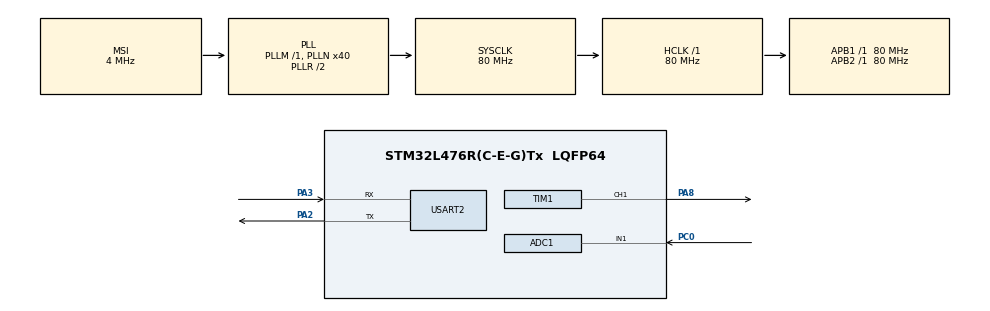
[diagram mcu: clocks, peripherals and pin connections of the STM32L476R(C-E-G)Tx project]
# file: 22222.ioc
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ADC1.Channel-1\#ChannelRegularConversion=ADC_CHANNEL_1
ADC1.NbrOfConversionFlag=1
ADC1.OffsetNumber-1\#ChannelRegularConversion=ADC_OFFSET_NONE
ADC1.Rank-1\#ChannelRegularConversion=1
ADC1.SamplingTime-1\#ChannelRegularConversion=ADC_SAMPLETIME_2CYCLES_5
ADC1.master=1
Dma.Request0=TIM1_CH1
Dma.TIM1_CH1.0.Direction=DMA_MEMORY_TO_PERIPH
Dma.TIM1_CH1.0.Instance=DMA1_Channel2
Dma.TIM1_CH1.0.MemDataAlignment=DMA_MDATAALIGN_HALFWORD
Dma.TIM1_CH1.0.MemInc=DMA_MINC_ENABLE
Dma.TIM1_CH1.0.Mode=DMA_NORMAL
Dma.TIM1_CH1.0.PeriphDataAlignment=DMA_PDATAALIGN_HALFWORD
Dma.TIM1_CH1.0.PeriphInc=DMA_PINC_DISABLE
Dma.TIM1_CH1.0.Priority=DMA_PRIORITY_LOW
FREERTOS.Tasks01=defaultTask,0,128,StartDefaultTask,Default,NULL,Dynamic,NULL,NULL
Mcu.Family=STM32L4
Mcu.Name=STM32L476R(C-E-G)Tx
Mcu.Package=LQFP64
NVIC.DMA1_Channel2_IRQn=true\:5\:0\:false\:false\:true\:true\:false\:true
NVIC.PriorityGroup=NVIC_PRIORITYGROUP_4
NVIC.TIM6_DAC_IRQn=true\:0\:0\:false\:false\:true\:false\:false\:true
NVIC.TimeBase=TIM6_DAC_IRQn
NVIC.TimeBaseIP=TIM6
PA13\ (JTMS-SWDIO).Mode=Serial_Wire
PA13\ (JTMS-SWDIO).Signal=SYS_JTMS-SWDIO
PA14\ (JTCK-SWCLK).Mode=Serial_Wire
PA14\ (JTCK-SWCLK).Signal=SYS_JTCK-SWCLK
PA2.Mode=Asynchronous
PA2.Signal=USART2_TX
PA3.Mode=Asynchronous
PA3.Signal=USART2_RX
PA8.Signal=S_TIM1_CH1
PC0.Signal=ADCx_IN1
ProjectManager.HeapSize=0x200
ProjectManager.StackSize=0x400
ProjectManager.TargetToolchain=TrueSTUDIO
RCC.ADCFreq_Value=32000000
RCC.AHBFreq_Value=80000000
RCC.APB1Freq_Value=80000000
RCC.APB1TimFreq_Value=80000000
RCC.APB2Freq_Value=80000000
RCC.APB2TimFreq_Value=80000000
RCC.CortexFreq_Value=80000000
RCC.HCLKFreq_Value=80000000
RCC.HSE_VALUE=8000000
RCC.HSI_VALUE=16000000
RCC.LSE_VALUE=32768
RCC.MSI_VALUE=4000000
RCC.PLLN=40
RCC.PLLSAI1N=16
RCC.SYSCLKFreq_VALUE=80000000
RCC.SYSCLKSource=RCC_SYSCLKSOURCE_PLLCLK
RCC.USBFreq_Value=32000000
RCC.VCOOutputFreq_Value=160000000
SH.ADCx_IN1.0=ADC1_IN1,IN1-Single-Ended
SH.S_TIM1_CH1.0=TIM1_CH1,PWM Generation1 CH1
TIM1.Channel-PWM\ Generation1\ CH1=TIM_CHANNEL_1
TIM1.Period=100-1
USART2.VirtualMode-Asynchronous=VM_ASYNC
VP_FREERTOS_VS_CMSIS_V1.Mode=CMSIS_V1
VP_SYS_VS_tim6.Mode=TIM6
VP_TIM1_VS_ClockSourceINT.Mode=Internal
board=custom

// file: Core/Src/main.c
/* USER CODE BEGIN Header */
/**
  ******************************************************************************
  * @file           : main.c
  * @brief          : Main program body
  ******************************************************************************
  * @attention
  *
  * <h2><center>&copy; Copyright (c) 2021 STMicroelectronics.
  * All rights reserved.</center></h2>
  *
  * This software component is licensed by ST under BSD 3-Clause license,
  * the "License"; You may not use this file except in compliance with the
  * License. You may obtain a copy of the License at:
  *                        opensource.org/licenses/BSD-3-Clause
  *
  ******************************************************************************
  */
/* USER CODE END Header */
#include "main.h"
#include "cmsis_os.h"

ADC_HandleTypeDef hadc1;

TIM_HandleTypeDef htim1;
DMA_HandleTypeDef hdma_tim1_ch1;

UART_HandleTypeDef huart2;

osThreadId defaultTaskHandle;

void SystemClock_Config(void);
static void MX_GPIO_Init(void);
static void MX_DMA_Init(void);
static void MX_ADC1_Init(void);
static void MX_USART2_UART_Init(void);
static void MX_TIM1_Init(void);
void StartDefaultTask(void const * argument);

/* USER CODE BEGIN 0 */
//输入值分别是：输入值，输入最小值，输入最大值，输出最小值，输出最大值
#define MAX_LED 39
#define USE_BRIGHTNESS 1
#define breathe 1
int datasentflag=0;
uint8_t LED_Data[MAX_LED][5];
uint8_t LED_Mod[MAX_LED][5];  // for brightness
int ledmode=0;
int ledmode_buffer=0;
int ledmode_color[8][3]={{0,0,0},{255,0,0},{0,255,0},{0,0,255},{255,255,0},{255,0,255},{0,255,255},{255,255,255}};

void Set_LED (int LEDnum, int Red, int Green, int Blue)
{
	LED_Data[LEDnum][0] = LEDnum;
	LED_Data[LEDnum][1] = Green;
	LED_Data[LEDnum][2] = Red;
	LED_Data[LEDnum][3] = Blue;
	LED_Data[LEDnum][4] = 0;
}

#define PI 3.14159265

void Set_Brightness (int brightness)  // 0-45
{
#if USE_BRIGHTNESS

	if (brightness > 45) brightness = 45;
	for (int i=0; i<MAX_LED; i++)
	{
		LED_Mod[i][0] = LED_Data[i][0];
		for (int j=1; j<5; j++)
		{
			float angle = 90-brightness;  // in degrees
			angle = angle*PI / 180;  // in rad
			LED_Mod[i][j] = brightness!=45?LED_Data[i][j]/(tan(angle)):LED_Data[i][j];
		}
	}

#endif
}
uint16_t pwmData[(32*MAX_LED)+50];

void WS2812_Send (void)
{
	uint32_t indx=0;
	uint32_t color;

	for (int i= 0; i<MAX_LED; i++)
	{
		#if USE_BRIGHTNESS
				color = ((LED_Mod[i][1]<<24) | (LED_Mod[i][2]<<16) | (LED_Mod[i][3]<<8));
		#else
				color = ((LED_Data[i][1]<<24) | (LED_Data[i][2]<<16) | (LED_Data[i][3]<<8));
		#endif

		for (int j=31; j>=0; j--)
		{
			if (color&(1<<j))pwmData[indx] = 64;
			else pwmData[indx] = 32;

			indx++;
		}

	}

	for (int i=0; i<50; i++)
	{
		pwmData[indx] = 0;
		indx++;
	}

	HAL_TIM_PWM_Start_DMA(&htim1, TIM_CHANNEL_1, (uint32_t *)pwmData, indx);
	while (!datasentflag){};
	datasentflag = 0;
}
void HAL_TIM_PWM_PulseFinishedCallback(TIM_HandleTypeDef *htim)
{
	HAL_TIM_PWM_Stop_DMA(&htim1, TIM_CHANNEL_1);
	datasentflag=1;
}

//uint16_t ADC_Value=0;
//uint16_t dong_get_adc(){
//    //開啟ADC1
//  HAL_ADC_Start(&hadc1);
//    //等待ADC轉換完成，超時為100ms
//    HAL_ADC_PollForConversion(&hadc1,100);
//    //判斷ADC是否轉換成功
//    if(HAL_IS_BIT_SET(HAL_ADC_GetState(&hadc1),HAL_ADC_STATE_REG_EOC)){
//         //讀取值
//       return HAL_ADC_GetValue(&hadc1);
//    }
//    return 0;
//}
/*map fun*/

float map(float val, float I_Min, float I_Max, float O_Min, float O_Max)
	{
		return(((val-I_Min)*((O_Max-O_Min)/(I_Max-I_Min)))+O_Min);
    }

/* USER CODE END 0 */

int main(void)
{
  /* USER CODE BEGIN 1 */
uint16_t raw;
uint16_t val;
char msg[10];
  /* USER CODE END 1 */

  /* MCU Configuration--------------------------------------------------------*/

  /* Reset of all peripherals, Initializes the Flash interface and the Systick. */
  HAL_Init();

  /* Configure the system clock */
  SystemClock_Config();

  /* Initialize all configured peripherals */
  MX_GPIO_Init();
  MX_DMA_Init();
  MX_ADC1_Init();
  MX_USART2_UART_Init();
  MX_TIM1_Init();

  /* Create the thread(s) */
  /* definition and creation of defaultTask */
  osThreadDef(defaultTask, StartDefaultTask, osPriorityNormal, 0, 128);
  defaultTaskHandle = osThreadCreate(osThread(defaultTask), NULL);

  /* Start scheduler */
  osKernelStart();

  /* We should never get here as control is now taken by the scheduler */
  /* Infinite loop */
  while (1)
  {

  }
}

void SystemClock_Config(void)
{
  RCC_OscInitTypeDef RCC_OscInitStruct = {0};
  RCC_ClkInitTypeDef RCC_ClkInitStruct = {0};
  RCC_PeriphCLKInitTypeDef PeriphClkInit = {0};

  /** Initializes the RCC Oscillators according to the specified parameters
  * in the RCC_OscInitTypeDef structure.
  */
  RCC_OscInitStruct.OscillatorType = RCC_OSCILLATORTYPE_MSI;
  RCC_OscInitStruct.MSIState = RCC_MSI_ON;
  RCC_OscInitStruct.MSICalibrationValue = 0;
  RCC_OscInitStruct.MSIClockRange = RCC_MSIRANGE_6;
  RCC_OscInitStruct.PLL.PLLState = RCC_PLL_ON;
  RCC_OscInitStruct.PLL.PLLSource = RCC_PLLSOURCE_MSI;
  RCC_OscInitStruct.PLL.PLLM = 1;
  RCC_OscInitStruct.PLL.PLLN = 40;
  RCC_OscInitStruct.PLL.PLLP = RCC_PLLP_DIV7;
  RCC_OscInitStruct.PLL.PLLQ = RCC_PLLQ_DIV2;
  RCC_OscInitStruct.PLL.PLLR = RCC_PLLR_DIV2;
  if (HAL_RCC_OscConfig(&RCC_OscInitStruct) != HAL_OK)
  {
    Error_Handler();
  }
  /** Initializes the CPU, AHB and APB buses clocks
  */
  RCC_ClkInitStruct.ClockType = RCC_CLOCKTYPE_HCLK|RCC_CLOCKTYPE_SYSCLK
                              |RCC_CLOCKTYPE_PCLK1|RCC_CLOCKTYPE_PCLK2;
  RCC_ClkInitStruct.SYSCLKSource = RCC_SYSCLKSOURCE_PLLCLK;
  RCC_ClkInitStruct.AHBCLKDivider = RCC_SYSCLK_DIV1;
  RCC_ClkInitStruct.APB1CLKDivider = RCC_HCLK_DIV1;
  RCC_ClkInitStruct.APB2CLKDivider = RCC_HCLK_DIV1;

  if (HAL_RCC_ClockConfig(&RCC_ClkInitStruct, FLASH_LATENCY_4) != HAL_OK)
  {
    Error_Handler();
  }
  PeriphClkInit.PeriphClockSelection = RCC_PERIPHCLK_USART2|RCC_PERIPHCLK_ADC;
  PeriphClkInit.Usart2ClockSelection = RCC_USART2CLKSOURCE_PCLK1;
  PeriphClkInit.AdcClockSelection = RCC_ADCCLKSOURCE_PLLSAI1;
  PeriphClkInit.PLLSAI1.PLLSAI1Source = RCC_PLLSOURCE_MSI;
  PeriphClkInit.PLLSAI1.PLLSAI1M = 1;
  PeriphClkInit.PLLSAI1.PLLSAI1N = 16;
  PeriphClkInit.PLLSAI1.PLLSAI1P = RCC_PLLP_DIV7;
  PeriphClkInit.PLLSAI1.PLLSAI1Q = RCC_PLLQ_DIV2;
  PeriphClkInit.PLLSAI1.PLLSAI1R = RCC_PLLR_DIV2;
  PeriphClkInit.PLLSAI1.PLLSAI1ClockOut = RCC_PLLSAI1_ADC1CLK;
  if (HAL_RCCEx_PeriphCLKConfig(&PeriphClkInit) != HAL_OK)
  {
    Error_Handler();
  }
  /** Configure the main internal regulator output voltage
  */
  if (HAL_PWREx_ControlVoltageScaling(PWR_REGULATOR_VOLTAGE_SCALE1) != HAL_OK)
  {
    Error_Handler();
  }
}

static void MX_ADC1_Init(void)
{

  ADC_MultiModeTypeDef multimode = {0};
  ADC_ChannelConfTypeDef sConfig = {0};

  /** Common config
  */
  hadc1.Instance = ADC1;
  hadc1.Init.ClockPrescaler = ADC_CLOCK_ASYNC_DIV1;
  hadc1.Init.Resolution = ADC_RESOLUTION_12B;
  hadc1.Init.DataAlign = ADC_DATAALIGN_RIGHT;
  hadc1.Init.ScanConvMode = ADC_SCAN_DISABLE;
  hadc1.Init.EOCSelection = ADC_EOC_SINGLE_CONV;
  hadc1.Init.LowPowerAutoWait = DISABLE;
  hadc1.Init.ContinuousConvMode = DISABLE;
  hadc1.Init.NbrOfConversion = 1;
  hadc1.Init.DiscontinuousConvMode = DISABLE;
  hadc1.Init.ExternalTrigConv = ADC_SOFTWARE_START;
  hadc1.Init.ExternalTrigConvEdge = ADC_EXTERNALTRIGCONVEDGE_NONE;
  hadc1.Init.DMAContinuousRequests = DISABLE;
  hadc1.Init.Overrun = ADC_OVR_DATA_PRESERVED;
  hadc1.Init.OversamplingMode = DISABLE;
  if (HAL_ADC_Init(&hadc1) != HAL_OK)
  {
    Error_Handler();
  }
  /** Configure the ADC multi-mode
  */
  multimode.Mode = ADC_MODE_INDEPENDENT;
  if (HAL_ADCEx_MultiModeConfigChannel(&hadc1, &multimode) != HAL_OK)
  {
    Error_Handler();
  }
  /** Configure Regular Channel
  */
  sConfig.Channel = ADC_CHANNEL_1;
  sConfig.Rank = ADC_REGULAR_RANK_1;
  sConfig.SamplingTime = ADC_SAMPLETIME_2CYCLES_5;
  sConfig.SingleDiff = ADC_SINGLE_ENDED;
  sConfig.OffsetNumber = ADC_OFFSET_NONE;
  sConfig.Offset = 0;
  if (HAL_ADC_ConfigChannel(&hadc1, &sConfig) != HAL_OK)
  {
    Error_Handler();
  }

}

static void MX_TIM1_Init(void)
{

  TIM_ClockConfigTypeDef sClockSourceConfig = {0};
  TIM_MasterConfigTypeDef sMasterConfig = {0};
  TIM_OC_InitTypeDef sConfigOC = {0};
  TIM_BreakDeadTimeConfigTypeDef sBreakDeadTimeConfig = {0};

  htim1.Instance = TIM1;
  htim1.Init.Prescaler = 0;
  htim1.Init.CounterMode = TIM_COUNTERMODE_UP;
  htim1.Init.Period = 100-1;
  htim1.Init.ClockDivision = TIM_CLOCKDIVISION_DIV1;
  htim1.Init.RepetitionCounter = 0;
  htim1.Init.AutoReloadPreload = TIM_AUTORELOAD_PRELOAD_DISABLE;
  if (HAL_TIM_Base_Init(&htim1) != HAL_OK)
  {
    Error_Handler();
  }
  sClockSourceConfig.ClockSource = TIM_CLOCKSOURCE_INTERNAL;
  if (HAL_TIM_ConfigClockSource(&htim1, &sClockSourceConfig) != HAL_OK)
  {
    Error_Handler();
  }
  if (HAL_TIM_PWM_Init(&htim1) != HAL_OK)
  {
    Error_Handler();
  }
  sMasterConfig.MasterOutputTrigger = TIM_TRGO_RESET;
  sMasterConfig.MasterOutputTrigger2 = TIM_TRGO2_RESET;
  sMasterConfig.MasterSlaveMode = TIM_MASTERSLAVEMODE_DISABLE;
  if (HAL_TIMEx_MasterConfigSynchronization(&htim1, &sMasterConfig) != HAL_OK)
  {
    Error_Handler();
  }
  sConfigOC.OCMode = TIM_OCMODE_PWM1;
  sConfigOC.Pulse = 0;
  sConfigOC.OCPolarity = TIM_OCPOLARITY_HIGH;
  sConfigOC.OCNPolarity = TIM_OCNPOLARITY_HIGH;
  sConfigOC.OCFastMode = TIM_OCFAST_DISABLE;
  sConfigOC.OCIdleState = TIM_OCIDLESTATE_RESET;
  sConfigOC.OCNIdleState = TIM_OCNIDLESTATE_RESET;
  if (HAL_TIM_PWM_ConfigChannel(&htim1, &sConfigOC, TIM_CHANNEL_1) != HAL_OK)
  {
    Error_Handler();
  }
  sBreakDeadTimeConfig.OffStateRunMode = TIM_OSSR_DISABLE;
  sBreakDeadTimeConfig.OffStateIDLEMode = TIM_OSSI_DISABLE;
  sBreakDeadTimeConfig.LockLevel = TIM_LOCKLEVEL_OFF;
  sBreakDeadTimeConfig.DeadTime = 0;
  sBreakDeadTimeConfig.BreakState = TIM_BREAK_DISABLE;
  sBreakDeadTimeConfig.BreakPolarity = TIM_BREAKPOLARITY_HIGH;
  sBreakDeadTimeConfig.BreakFilter = 0;
  sBreakDeadTimeConfig.Break2State = TIM_BREAK2_DISABLE;
  sBreakDeadTimeConfig.Break2Polarity = TIM_BREAK2POLARITY_HIGH;
  sBreakDeadTimeConfig.Break2Filter = 0;
  sBreakDeadTimeConfig.AutomaticOutput = TIM_AUTOMATICOUTPUT_DISABLE;
  if (HAL_TIMEx_ConfigBreakDeadTime(&htim1, &sBreakDeadTimeConfig) != HAL_OK)
  {
    Error_Handler();
  }
  HAL_TIM_MspPostInit(&htim1);

}

static void MX_USART2_UART_Init(void)
{

  huart2.Instance = USART2;
  huart2.Init.BaudRate = 115200;
  huart2.Init.WordLength = UART_WORDLENGTH_8B;
  huart2.Init.StopBits = UART_STOPBITS_1;
  huart2.Init.Parity = UART_PARITY_NONE;
  huart2.Init.Mode = UART_MODE_TX_RX;
  huart2.Init.HwFlowCtl = UART_HWCONTROL_NONE;
  huart2.Init.OverSampling = UART_OVERSAMPLING_16;
  huart2.Init.OneBitSampling = UART_ONE_BIT_SAMPLE_DISABLE;
  huart2.AdvancedInit.AdvFeatureInit = UART_ADVFEATURE_NO_INIT;
  if (HAL_UART_Init(&huart2) != HAL_OK)
  {
    Error_Handler();
  }

}

static void MX_DMA_Init(void)
{

  /* DMA controller clock enable */
  __HAL_RCC_DMA1_CLK_ENABLE();

  /* DMA interrupt init */
  /* DMA1_Channel2_IRQn interrupt configuration */
  HAL_NVIC_SetPriority(DMA1_Channel2_IRQn, 5, 0);
  HAL_NVIC_EnableIRQ(DMA1_Channel2_IRQn);

}

static void MX_GPIO_Init(void)
{

  /* GPIO Ports Clock Enable */
  __HAL_RCC_GPIOC_CLK_ENABLE();
  __HAL_RCC_GPIOA_CLK_ENABLE();

}

void StartDefaultTask(void const * argument)
{
  /* USER CODE BEGIN 5 */
	uint16_t val;
		uint16_t raw;
		char msg[10];
	  /* Infinite loop */
		for(int i=0;i<MAX_LED;i++)
			  {
				Set_LED(i,150,90,40);
			  }

	  for(;;)
	  {

		  HAL_ADC_Start(&hadc1);
		  HAL_ADC_PollForConversion(&hadc1,HAL_MAX_DELAY);
		  raw=HAL_ADC_GetValue(&hadc1);
//		  raw=raw<2750?2750:raw;
//		  val=map(raw,3050,4095,0,45);

		  if(val>=5)val-=5;
		  else if(val>0 && val<5)val=0;
		  if(raw>3800)val=45;

		  sprintf(msg, "%hu   %hu\r\n", raw,val);
		  HAL_UART_Transmit(&huart2,(uint8_t *) msg,strlen(msg),100);
		  Set_Brightness(val);//0~45
		  WS2812_Send();

	//	  Set_Brightness(20);//0~45
	//	  WS2812_Send();
	//	  HAL_Delay(200);
	//	  Set_Brightness(0);//0~45
	//	  WS2812_Send();
	//	  HAL_Delay(200);
	//	  Set_Brightness(20);//0~45
	//	  WS2812_Send();
	//	  HAL_Delay(200);
	//	  Set_Brightness(0);//0~45
	//	  WS2812_Send();
	//	  HAL_Delay(200);
	    osDelay(1);
	  }
  /* USER CODE END 5 */
}

 /**
  * @brief  Period elapsed callback in non blocking mode
  * @note   This function is called  when TIM6 interrupt took place, inside
  * HAL_TIM_IRQHandler(). It makes a direct call to HAL_IncTick() to increment
  * a global variable "uwTick" used as application time base.
  * @param  htim : TIM handle
  * @retval None
  */
void HAL_TIM_PeriodElapsedCallback(TIM_HandleTypeDef *htim)
{
  if (htim->Instance == TIM6) {
    HAL_IncTick();
  }
}

void Error_Handler(void)
{
  __disable_irq();
  while (1)
  {
  }
}

/************************ (C) COPYRIGHT STMicroelectronics *****END OF FILE****/
